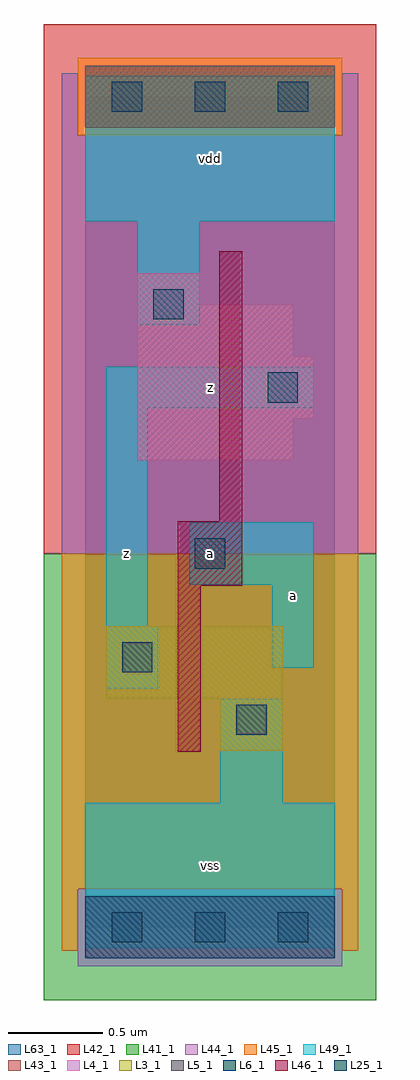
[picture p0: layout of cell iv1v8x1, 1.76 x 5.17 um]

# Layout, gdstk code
import gdstk
lib = gdstk.Library(unit=1e-6, precision=1e-09)
def R(c, l, rs):  # rectangles x0, y0, x1, y1
    for r in rs: c.add(gdstk.rectangle(r[:2], r[2:], *l))
def A(c, l, x, y, w, h, nx, ny, dx, dy):  # array of equal rectangles
    R(c, l, [(x+i*dx, y+j*dy, x+i*dx+w, y+j*dy+h) for i in range(nx) for j in range(ny)])
L3_1 = (3, 1)
L4_1 = (4, 1)
L5_1 = (5, 1)
L6_1 = (6, 1)
L25_1 = (25, 1)
L41_1 = (41, 1)
L42_1 = (42, 1)
L43_1 = (43, 1)
L44_1 = (44, 1)
L45_1 = (45, 1)
L46_1 = (46, 1)
L49_1 = (49, 1)
L63_1 = (63, 1)

iv1v8x1 = lib.new_cell('iv1v8x1')
R(iv1v8x1, L3_1, [(0.715,0.935,1.045,1.21), (0.11,1.21,1.045,1.595)])
R(iv1v8x1, L4_1, [(0.275,2.475,1.1,2.695), (0.275,2.695,1.21,3.025), (0.275,3.025,1.1,3.3), (0.275,3.3,0.605,3.465)])
R(iv1v8x1, L5_1, [(0,4.235,1.32,4.565)])
R(iv1v8x1, L6_1, [(0,-0.165,1.32,0.165)])
A(iv1v8x1, L25_1, 0.14, -0.08, 0.16, 0.16, 3, 2, 0.44, 4.4)
R(iv1v8x1, L25_1, [(0.8,1.02,0.96,1.18), (0.195,1.35,0.355,1.51), (0.58,1.9,0.74,2.06), (0.965,2.78,1.125,2.94), (0.36,3.22,0.52,3.38)])
R(iv1v8x1, L41_1, [(-0.22,-0.385,1.54,1.98)])
R(iv1v8x1, L42_1, [(-0.22,1.98,1.54,4.785)])
R(iv1v8x1, L43_1, [(0,-0.165,1.32,0.165), (0.715,0.935,1.045,1.21), (0.11,1.21,1.045,1.595), (0.275,2.475,1.1,2.695), (0.275,2.695,1.21,3.025), (0.275,3.025,1.1,3.3), (0.275,3.3,0.605,3.465), (0,4.235,1.32,4.565)])
R(iv1v8x1, L44_1, [(-0.04,-0.205,1.36,0.205), (-0.125,1.98,1.445,4.195), (-0.125,4.195,-0.04,4.525), (1.36,4.195,1.445,4.525)])
R(iv1v8x1, L45_1, [(-0.125,-0.125,-0.04,0.205), (1.36,-0.125,1.445,0.205), (-0.125,0.205,1.445,1.98), (-0.04,4.195,1.36,4.605)])
R(iv1v8x1, L46_1, [(0.49,0.93,0.61,1.81), (0.49,1.81,0.83,2.15), (0.71,2.15,0.83,3.58)])
R(iv1v8x1, L49_1, [(0,-0.11,1.32,0.66), (0.715,0.66,1.045,1.21), (0.11,1.265,0.385,1.595), (0.99,1.375,1.21,1.815), (0.11,1.595,0.33,2.75), (0.55,1.815,1.21,2.145), (0.11,2.75,1.21,2.97), (0.275,3.19,0.605,3.74), (0,3.74,1.32,4.51)])
R(iv1v8x1, L63_1, [(0,0,1.32,4.4)])
iv1v8x1.add(gdstk.Label('z', (0.22,1.98), layer=49, texttype=1))
iv1v8x1.add(gdstk.Label('vss', (0.66,0.33), layer=49, texttype=1))
iv1v8x1.add(gdstk.Label('a', (0.66,1.98), layer=49, texttype=1))
iv1v8x1.add(gdstk.Label('z', (0.66,2.86), layer=49, texttype=1))
iv1v8x1.add(gdstk.Label('vdd', (0.66,4.07), layer=49, texttype=1))
iv1v8x1.add(gdstk.Label('a', (1.1,1.76), layer=49, texttype=1))

lib.write_gds('iv1v8x1.gds')
